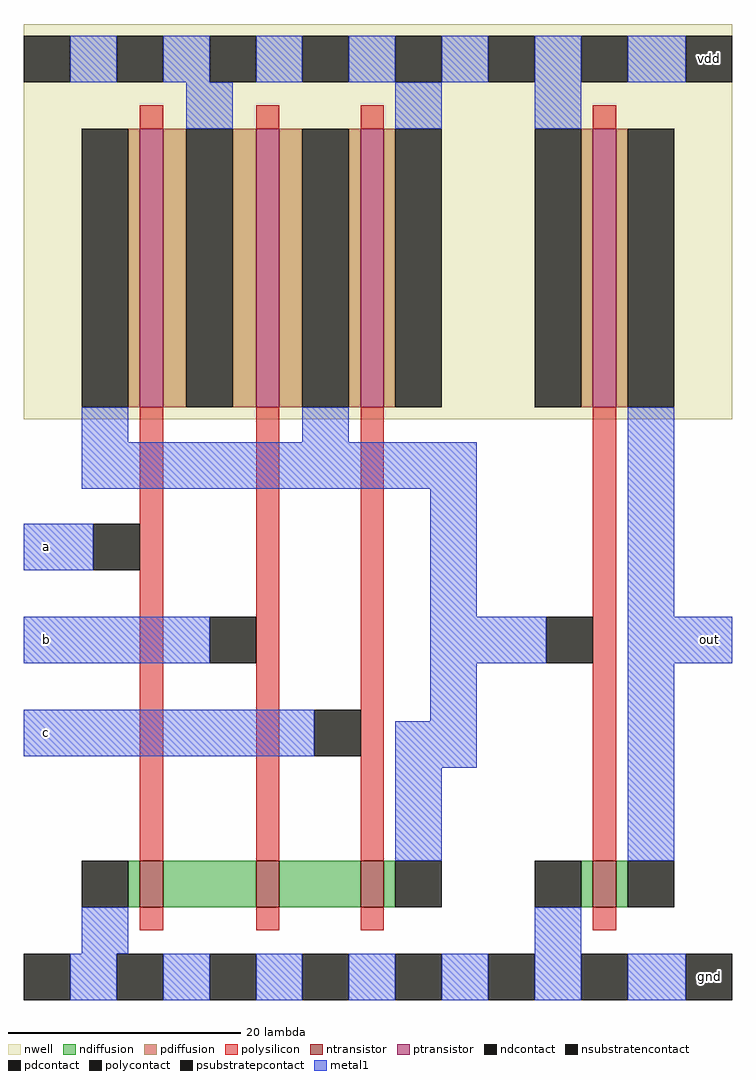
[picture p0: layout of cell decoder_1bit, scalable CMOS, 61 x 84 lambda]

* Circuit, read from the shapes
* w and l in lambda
.subckt decoder_1bit a b c gnd out vdd
M1 n1 a gnd gnd nfet w=4 l=2
M2 n2 b n1 gnd nfet w=4 l=2
M3 n3 c n2 gnd nfet w=4 l=2
M4 out n3 gnd gnd nfet w=4 l=2
M5 vdd a n3 vdd pfet w=24 l=2
M6 n3 b vdd vdd pfet w=24 l=2
M7 vdd c n3 vdd pfet w=24 l=2
M8 out n3 vdd vdd pfet w=24 l=2
.ends

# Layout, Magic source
magic
tech scmos
<< nwell >>
rect -5 -1 56 33
<< polysilicon >>
rect 5 24 7 26
rect 15 24 17 26
rect 24 24 26 26
rect 44 24 46 26
rect 5 -39 7 0
rect 15 -39 17 0
rect 24 -39 26 0
rect 44 -39 46 0
rect 5 -45 7 -43
rect 15 -45 17 -43
rect 24 -45 26 -43
rect 44 -45 46 -43
<< ndiffusion >>
rect 4 -43 5 -39
rect 7 -43 15 -39
rect 17 -43 24 -39
rect 26 -43 27 -39
rect 43 -43 44 -39
rect 46 -43 47 -39
<< pdiffusion >>
rect 4 0 5 24
rect 7 0 9 24
rect 13 0 15 24
rect 17 0 19 24
rect 23 0 24 24
rect 26 0 27 24
rect 43 0 44 24
rect 46 0 47 24
<< metal1 >>
rect -1 28 3 32
rect 7 28 11 32
rect 15 28 19 32
rect 23 28 27 32
rect 31 28 35 32
rect 9 24 13 28
rect 27 24 31 28
rect 39 24 43 32
rect 47 28 52 32
rect 0 -3 4 0
rect 19 -3 23 0
rect 0 -7 34 -3
rect -5 -14 1 -10
rect 30 -18 34 -7
rect 47 -18 51 0
rect -5 -22 11 -18
rect 30 -22 40 -18
rect 47 -22 56 -18
rect -5 -30 20 -26
rect 30 -27 34 -22
rect 27 -31 34 -27
rect 27 -39 31 -31
rect 47 -39 51 -22
rect 0 -47 4 -43
rect -1 -51 3 -47
rect 7 -51 11 -47
rect 15 -51 19 -47
rect 23 -51 27 -47
rect 31 -51 35 -47
rect 39 -51 43 -43
rect 47 -51 52 -47
<< ntransistor >>
rect 5 -43 7 -39
rect 15 -43 17 -39
rect 24 -43 26 -39
rect 44 -43 46 -39
<< ptransistor >>
rect 5 0 7 24
rect 15 0 17 24
rect 24 0 26 24
rect 44 0 46 24
<< polycontact >>
rect 1 -14 5 -10
rect 11 -22 15 -18
rect 20 -30 24 -26
rect 40 -22 44 -18
<< ndcontact >>
rect 0 -43 4 -39
rect 27 -43 31 -39
rect 39 -43 43 -39
rect 47 -43 51 -39
<< pdcontact >>
rect 0 0 4 24
rect 9 0 13 24
rect 19 0 23 24
rect 27 0 31 24
rect 39 0 43 24
rect 47 0 51 24
<< psubstratepcontact >>
rect -5 -51 -1 -47
rect 3 -51 7 -47
rect 11 -51 15 -47
rect 19 -51 23 -47
rect 27 -51 31 -47
rect 35 -51 39 -47
rect 43 -51 47 -47
rect 52 -51 56 -47
<< nsubstratencontact >>
rect -5 28 -1 32
rect 3 28 7 32
rect 11 28 15 32
rect 19 28 23 32
rect 27 28 31 32
rect 35 28 39 32
rect 43 28 47 32
rect 52 28 56 32
<< labels >>
rlabel metal1 -5 -14 -1 -10 0 a
rlabel metal1 -5 -22 -1 -18 0 b
rlabel metal1 -5 -30 -1 -26 0 c
rlabel metal1 52 -22 56 -18 0 out
rlabel nsubstratencontact 52 28 56 32 0 vdd
rlabel psubstratepcontact 52 -51 56 -47 0 gnd
<< end >>
